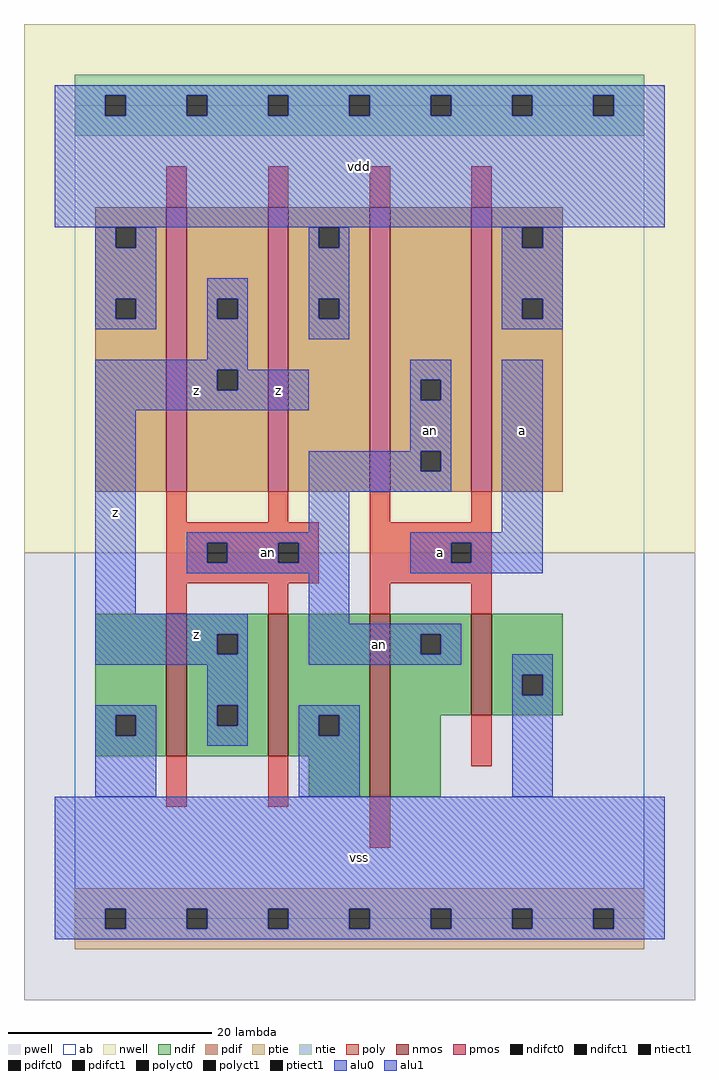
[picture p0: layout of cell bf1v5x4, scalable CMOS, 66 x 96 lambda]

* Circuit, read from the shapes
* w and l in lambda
.subckt bf1v5x4 a an vdd vss z
M1 z an vss vss nfet w=14 l=2 m=2
M2 an a vss vss nfet w=18 l=2
M3 vss a an vss nfet w=10 l=2
M4 z an vdd vdd pfet w=28 l=2 m=2
M5 an a vdd vdd pfet w=28 l=2 m=2
.ends

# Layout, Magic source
magic
tech scmos
<< ab >>
rect 0 0 56 80
<< nwell >>
rect -5 36 61 88
<< pwell >>
rect -5 -8 61 36
<< poly >>
rect 9 70 11 74
rect 19 70 21 74
rect 29 70 31 74
rect 39 70 41 74
rect 9 39 11 42
rect 19 39 21 42
rect 29 39 31 42
rect 39 39 41 42
rect 9 37 24 39
rect 9 35 13 37
rect 15 35 20 37
rect 22 35 24 37
rect 9 33 24 35
rect 29 37 41 39
rect 29 35 37 37
rect 39 35 41 37
rect 29 33 41 35
rect 9 30 11 33
rect 19 30 21 33
rect 29 30 31 33
rect 39 30 41 33
rect 9 11 11 16
rect 19 11 21 16
rect 39 15 41 20
rect 29 7 31 12
<< ndif >>
rect 2 20 9 30
rect 2 18 4 20
rect 6 18 9 20
rect 2 16 9 18
rect 11 28 19 30
rect 11 26 14 28
rect 16 26 19 28
rect 11 21 19 26
rect 11 19 14 21
rect 16 19 19 21
rect 11 16 19 19
rect 21 20 29 30
rect 21 18 24 20
rect 26 18 29 20
rect 21 16 29 18
rect 23 12 29 16
rect 31 28 39 30
rect 31 26 34 28
rect 36 26 39 28
rect 31 20 39 26
rect 41 24 48 30
rect 41 22 44 24
rect 46 22 48 24
rect 41 20 48 22
rect 31 12 36 20
<< pdif >>
rect 2 68 9 70
rect 2 66 4 68
rect 6 66 9 68
rect 2 61 9 66
rect 2 59 4 61
rect 6 59 9 61
rect 2 42 9 59
rect 11 61 19 70
rect 11 59 14 61
rect 16 59 19 61
rect 11 54 19 59
rect 11 52 14 54
rect 16 52 19 54
rect 11 42 19 52
rect 21 68 29 70
rect 21 66 24 68
rect 26 66 29 68
rect 21 61 29 66
rect 21 59 24 61
rect 26 59 29 61
rect 21 42 29 59
rect 31 53 39 70
rect 31 51 34 53
rect 36 51 39 53
rect 31 46 39 51
rect 31 44 34 46
rect 36 44 39 46
rect 31 42 39 44
rect 41 68 48 70
rect 41 66 44 68
rect 46 66 48 68
rect 41 61 48 66
rect 41 59 44 61
rect 46 59 48 61
rect 41 42 48 59
<< alu1 >>
rect -2 81 58 82
rect -2 79 3 81
rect 5 79 11 81
rect 13 79 19 81
rect 21 79 27 81
rect 29 79 35 81
rect 37 79 43 81
rect 45 79 51 81
rect 53 79 58 81
rect -2 68 58 79
rect 13 61 17 63
rect 13 59 14 61
rect 16 59 17 61
rect 13 55 17 59
rect 2 54 17 55
rect 2 52 14 54
rect 16 52 23 54
rect 2 50 23 52
rect 2 30 6 50
rect 42 38 46 55
rect 33 37 46 38
rect 33 35 37 37
rect 39 35 46 37
rect 33 34 46 35
rect 2 28 17 30
rect 2 26 14 28
rect 16 26 17 28
rect 2 25 17 26
rect 13 21 17 25
rect 13 19 14 21
rect 16 19 17 21
rect 13 17 17 19
rect -2 1 58 12
rect -2 -1 3 1
rect 5 -1 11 1
rect 13 -1 19 1
rect 21 -1 27 1
rect 29 -1 35 1
rect 37 -1 43 1
rect 45 -1 51 1
rect 53 -1 58 1
rect -2 -2 58 -1
<< ptie >>
rect 0 1 56 3
rect 0 -1 3 1
rect 5 -1 11 1
rect 13 -1 19 1
rect 21 -1 27 1
rect 29 -1 35 1
rect 37 -1 43 1
rect 45 -1 51 1
rect 53 -1 56 1
rect 0 -3 56 -1
<< ntie >>
rect 0 81 56 83
rect 0 79 3 81
rect 5 79 11 81
rect 13 79 19 81
rect 21 79 27 81
rect 29 79 35 81
rect 37 79 43 81
rect 45 79 51 81
rect 53 79 56 81
rect 0 77 56 79
<< nmos >>
rect 9 16 11 30
rect 19 16 21 30
rect 29 12 31 30
rect 39 20 41 30
<< pmos >>
rect 9 42 11 70
rect 19 42 21 70
rect 29 42 31 70
rect 39 42 41 70
<< polyct0 >>
rect 13 35 15 37
rect 20 35 22 37
<< polyct1 >>
rect 37 35 39 37
<< ndifct0 >>
rect 4 18 6 20
rect 24 18 26 20
rect 34 26 36 28
rect 44 22 46 24
<< ndifct1 >>
rect 14 26 16 28
rect 14 19 16 21
<< ntiect1 >>
rect 3 79 5 81
rect 11 79 13 81
rect 19 79 21 81
rect 27 79 29 81
rect 35 79 37 81
rect 43 79 45 81
rect 51 79 53 81
<< ptiect1 >>
rect 3 -1 5 1
rect 11 -1 13 1
rect 19 -1 21 1
rect 27 -1 29 1
rect 35 -1 37 1
rect 43 -1 45 1
rect 51 -1 53 1
<< pdifct0 >>
rect 4 66 6 68
rect 4 59 6 61
rect 24 66 26 68
rect 24 59 26 61
rect 34 51 36 53
rect 34 44 36 46
rect 44 66 46 68
rect 44 59 46 61
<< pdifct1 >>
rect 14 59 16 61
rect 14 52 16 54
<< alu0 >>
rect 2 66 4 68
rect 6 66 8 68
rect 2 61 8 66
rect 23 66 24 68
rect 26 66 27 68
rect 2 59 4 61
rect 6 59 8 61
rect 2 58 8 59
rect 23 61 27 66
rect 23 59 24 61
rect 26 59 27 61
rect 23 57 27 59
rect 42 66 44 68
rect 46 66 48 68
rect 42 61 48 66
rect 42 59 44 61
rect 46 59 48 61
rect 42 58 48 59
rect 33 53 37 55
rect 33 51 34 53
rect 36 51 37 53
rect 33 46 37 51
rect 23 44 34 46
rect 36 44 37 46
rect 23 42 37 44
rect 23 38 27 42
rect 11 37 27 38
rect 11 35 13 37
rect 15 35 20 37
rect 22 35 27 37
rect 11 34 27 35
rect 23 29 27 34
rect 23 28 38 29
rect 23 26 34 28
rect 36 26 38 28
rect 23 25 38 26
rect 43 24 47 26
rect 43 22 44 24
rect 46 22 47 24
rect 2 20 8 21
rect 2 18 4 20
rect 6 18 8 20
rect 2 12 8 18
rect 22 20 28 21
rect 22 18 24 20
rect 26 18 28 20
rect 22 12 28 18
rect 43 12 47 22
<< labels >>
rlabel alu0 19 36 19 36 6 an
rlabel alu0 30 27 30 27 6 an
rlabel alu0 35 48 35 48 6 an
rlabel alu1 4 40 4 40 6 z
rlabel alu1 12 28 12 28 6 z
rlabel alu1 12 52 12 52 6 z
rlabel alu1 20 52 20 52 6 z
rlabel alu1 28 6 28 6 6 vss
rlabel alu1 36 36 36 36 6 a
rlabel alu1 28 74 28 74 6 vdd
rlabel alu1 44 48 44 48 6 a
<< end >>
